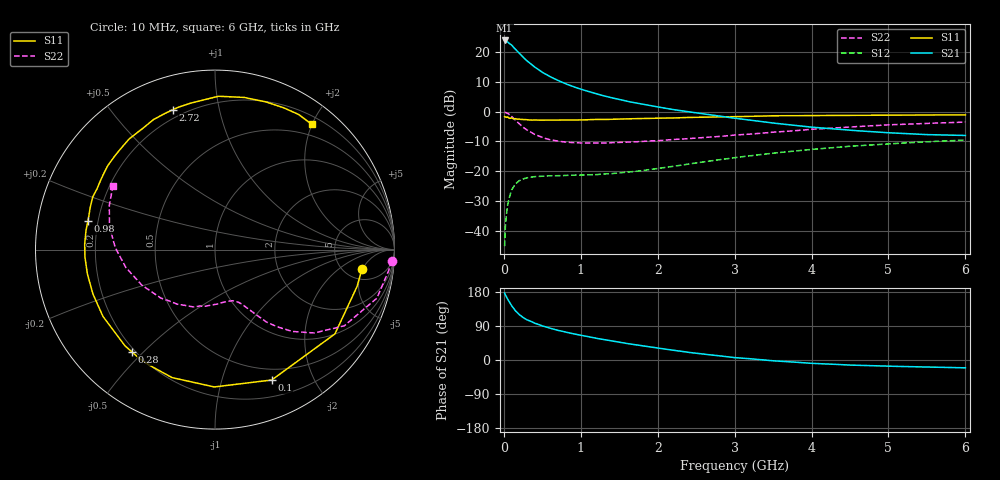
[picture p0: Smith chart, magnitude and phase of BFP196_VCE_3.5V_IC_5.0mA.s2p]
! Infineon Technologies  Discrete & RF Semiconductors
! BFP196
! VCE = 3.5 V,  IC = 5.0mA
! Common Emitter S-Parameters:  Jan 2016
# GHz  S  MA  R  50
!  f  S11  S21  S12  S22
! GHz  MAG  ANG  MAG  ANG  MAG  ANG  MAG  ANG
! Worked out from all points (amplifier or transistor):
!   210 points, 10 MHz to 6 GHz, reference 50 ohm
!   highest |S21| = 23.9 dB at 10 MHz (marker M1)
!   |S21| within 3 dB of that: start of sweep to 151.6 MHz
!   unconditionally stable (mu >= 1): 1.126 GHz to 3.299 GHz
!   at 185 MHz: K = 0.20, MSG = 21.8 dB, |S12| = -23.5 dB
!   at 1.52 GHz: K = 1.18, MAG = 9.7 dB, |S12| = -20.5 dB
!   at 6 GHz: K = 1.00, MSG = 0.8 dB, |S12| = -9.5 dB
!   S11 on the Smith chart (normalised r, x): 10 MHz: 7.16, -4.86; 100 MHz: 0.37, -1.46; 280 MHz: 0.19, -0.46; 980 MHz: 0.16, +0.11; 2.72 GHz: 0.16, +0.73; 6 GHz: 0.32, +1.99
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0.01  0.8262 -7.5  15.75 176.9  0.0055 88.3  0.9862 -3.6
0.02  0.8176 -14.6  15.3 171.6  0.0116 84.0  0.9748 -6.9
0.05  0.8168 -35.1  14.84 160.3  0.0275 72.0  0.9416 -16.7
0.1  0.7923 -66.5  13.25 143.4  0.0481 58.1  0.8362 -30.5
0.15  0.7652 -90.3  11.2 129.7  0.0611 46.6  0.7222 -40.0
0.2  0.7522 -108.5  9.651 119.9  0.0692 39.0  0.6268 -46.7
0.24  0.7407 -119.8  8.512 113.7  0.0731 34.5  0.5634 -50.4
0.28  0.7344 -129.0  7.583 108.6  0.0762 31.4  0.5149 -53.3
0.3  0.734 -133.2  7.158 106.1  0.0775 30.2  0.4932 -54.7
0.4  0.7267 -149.2  5.643 97.2  0.081 25.3  0.4158 -58.4
0.5  0.7236 -160.0  4.595 89.9  0.0825 22.8  0.3679 -61.3
0.6  0.7238 -169.2  3.892 83.7  0.0838 22.0  0.3381 -63.8
0.7  0.7258 -176.8  3.368 78.4  0.084 21.3  0.3203 -66.1
0.98  0.7257 167.4  2.438 66.0  0.0859 22.8  0.2991 -72.9
1.02  0.7272 165.3  2.347 64.4  0.0861 23.3  0.2981 -74.0
1.4  0.7454 148.8  1.716 50.4  0.091 28.6  0.3022 -85.2
2.02  0.7803 127.3  1.192 30.9  0.112 37.6  0.3264 -105.4
2.72  0.814 106.6  0.872 12.8  0.151 39.9  0.3771 -128.9
3.1  0.8302 97.3  0.749 4.9  0.1754 37.7  0.4118 -141.6
4.1  0.8634 77.5  0.537 -9.6  0.2381 28.0  0.5142 -171.3
5.1  0.8784 63.1  0.437 -16.8  0.2931 15.6  0.6073 165.6
6  0.882 52.4  0.399 -20.7  0.3335 3.9  0.6697 148.2
